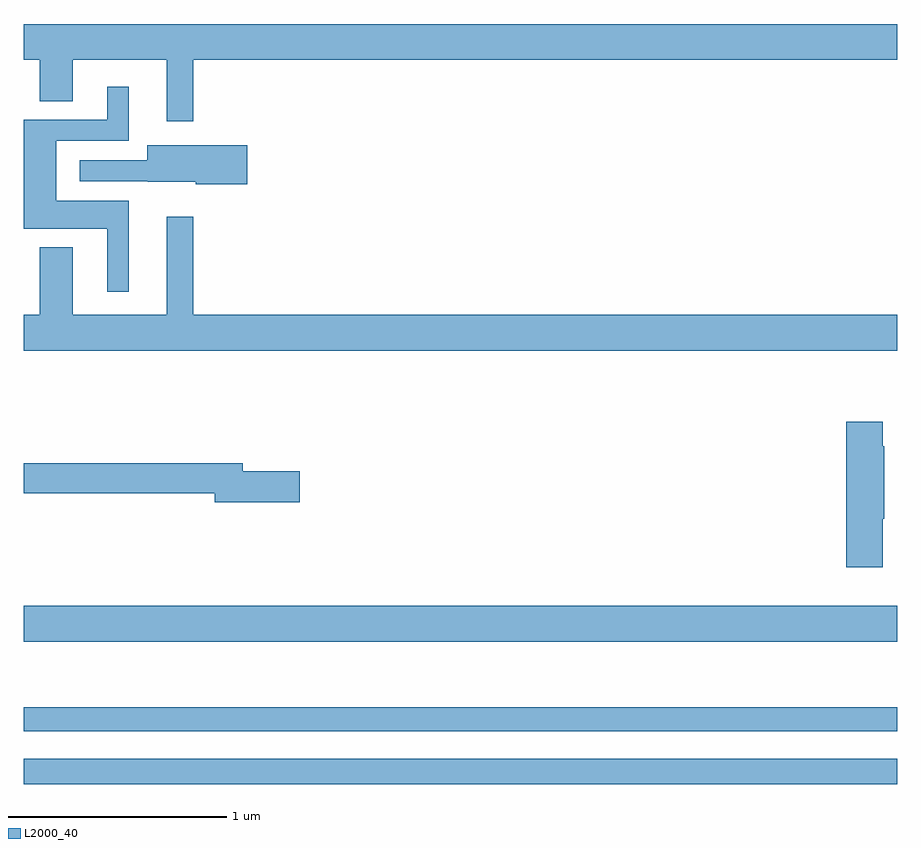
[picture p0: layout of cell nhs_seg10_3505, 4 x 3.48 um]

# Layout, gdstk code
import gdstk
lib = gdstk.Library(unit=1e-6, precision=1e-09)
def R(c, l, rs):  # rectangles x0, y0, x1, y1
    for r in rs: c.add(gdstk.rectangle(r[:2], r[2:], *l))
def P(c, l, *ps):  # polygons
    for p in ps: c.add(gdstk.Polygon(p, *l))
L2000_40 = (2000, 40)

nhs_seg10_3505 = lib.new_cell('nhs_seg10_3505')
R(nhs_seg10_3505, L2000_40, [(301,1316.98,305,1317.096), (301,1317.222,305,1317.331), (301,1317.632,305,1317.796)])
P(nhs_seg10_3505, L2000_40, [(301.777,1320.296),(305,1320.296),(305,1320.46),(301,1320.46),(301,1320.296),(301.073,1320.296),(301.073,1320.106),(301.225,1320.106),(301.225,1320.296),(301.655,1320.296),(301.655,1320.015),(301.777,1320.015)],
  [(301.48,1319.65),(301.15,1319.65),(301.15,1319.925),(301.48,1319.925),(301.48,1320.172),(301.382,1320.172),(301.382,1320.021),(301,1320.021),(301,1319.522),(301.382,1319.522),(301.382,1319.235),(301.48,1319.235)],
  [(302.023,1319.904),(301.565,1319.904),(301.565,1319.835),(301.257,1319.835),(301.257,1319.739),(301.569,1319.739),(301.569,1319.738),(301.788,1319.738),(301.788,1319.726),(302.023,1319.726)],
  [(305,1319.128),(301.777,1319.128),(301.777,1319.578),(301.655,1319.578),(301.655,1319.128),(301.225,1319.128),(301.225,1319.437),(301.073,1319.437),(301.073,1319.128),(301,1319.128),(301,1318.964),(305,1318.964)],
  [(304.933,1318.195),(304.941,1318.195),(304.941,1318.526),(304.933,1318.526),(304.933,1318.639),(304.766,1318.639),(304.766,1317.972),(304.933,1317.972)],
  [(302.263,1318.412),(302.002,1318.412),(302.002,1318.448),(301,1318.448),(301,1318.312),(301.874,1318.312),(301.874,1318.27),(302.263,1318.27)])

lib.write_gds('nhs_seg10_3505.gds')
